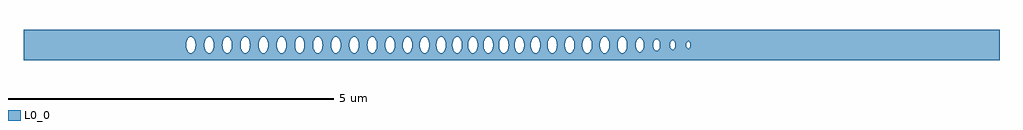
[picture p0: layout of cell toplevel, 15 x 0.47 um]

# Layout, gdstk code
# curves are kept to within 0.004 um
import gdstk
lib = gdstk.Library(unit=1e-6, precision=1e-09)
def P(c, l, *ps):  # polygons
    for p in ps: c.add(gdstk.Polygon(p, *l))
L0_0 = (0, 0)

toplevel = lib.new_cell('toplevel')
P(toplevel, L0_0, [(-4.718,0.032),(-4.707,0.075),(-4.691,0.103),(-4.691,0.234),(-7.5,0.234),(-7.5,-0.016),(-4.999,-0.016),(-4.996,0.039),(-4.985,0.075),(-4.962,0.112),(-4.927,0.128),(-4.9,0.119),(-4.877,0.093),(-4.859,0.047),(-4.854,0.008),(-4.859,-0.047),(-4.877,-0.093),(-4.9,-0.119),(-4.927,-0.128),(-4.953,-0.119),(-4.973,-0.098),(-4.988,-0.068),(-4.999,-0.016),(-7.5,-0.016),(-7.5,-0.234),(-4.691,-0.234),(-4.691,-0.103),(-4.714,-0.054),(-4.72,-0.016)],
  [(-4.683,0.112),(-4.648,0.128),(-4.621,0.119),(-4.609,0.108),(-4.592,0.081),(-4.581,0.047),(-4.576,-0.016),(-4.592,-0.081),(-4.621,-0.119),(-4.648,-0.128),(-4.662,-0.125),(-4.691,-0.103),(-4.691,-0.234),(-4.369,-0.234),(-4.369,-0.128),(-4.396,-0.119),(-4.416,-0.098),(-4.431,-0.068),(-4.442,-0.008),(-4.437,0.047),(-4.419,0.093),(-4.396,0.119),(-4.369,0.128),(-4.369,0.234),(-4.691,0.234),(-4.691,0.103)],
  [(-4.299,-0.032),(-4.323,-0.098),(-4.343,-0.119),(-4.369,-0.128),(-4.369,-0.234),(-4.048,-0.234),(-4.048,-0.103),(-4.077,-0.125),(-4.091,-0.128),(-4.118,-0.119),(-4.147,-0.081),(-4.163,-0.016),(-4.158,0.047),(-4.147,0.081),(-4.13,0.108),(-4.118,0.119),(-4.091,0.128),(-4.064,0.119),(-4.048,0.103),(-4.048,0.234),(-4.369,0.234),(-4.369,0.128),(-4.335,0.112),(-4.311,0.075),(-4.298,0.024)],
  [(-3.751,-0.068),(-3.766,-0.098),(-3.786,-0.119),(-3.812,-0.128),(-3.839,-0.119),(-3.871,-0.075),(-3.885,0),(-3.871,0.075),(-3.839,0.119),(-3.812,0.128),(-3.786,0.119),(-3.766,0.098),(-3.751,0.068),(-3.751,0.234),(-4.048,0.234),(-4.048,0.103),(-4.027,0.061),(-4.018,0),(-4.027,-0.061),(-4.048,-0.103),(-4.048,-0.234),(-3.751,-0.234)],
  [(-3.742,-0.032),(-3.751,-0.068),(-3.751,-0.234),(-3.321,-0.234),(-3.321,-0.054),(-3.327,-0.016),(-3.321,0.054),(-3.321,0.234),(-3.751,0.234),(-3.751,0.067),(-3.74,-0.008),(-3.606,-0.008),(-3.601,0.047),(-3.583,0.093),(-3.56,0.119),(-3.534,0.128),(-3.507,0.119),(-3.487,0.098),(-3.472,0.068),(-3.461,0.008),(-3.466,-0.047),(-3.484,-0.093),(-3.507,-0.119),(-3.534,-0.128),(-3.56,-0.119),(-3.58,-0.098),(-3.595,-0.068),(-3.606,-0.008),(-3.74,-0.008)],
  [(-3.314,0.075),(-3.282,0.119),(-3.255,0.128),(-3.228,0.119),(-3.196,0.075),(-3.186,0.039),(-3.183,-0.016),(-3.189,-0.054),(-3.205,-0.093),(-3.22,-0.112),(-3.241,-0.125),(-3.269,-0.125),(-3.29,-0.112),(-3.305,-0.093),(-3.321,-0.054),(-3.321,-0.234),(-2.994,-0.234),(-2.994,-0.123),(-3.015,-0.108),(-3.035,-0.075),(-3.049,-0.008),(-3.038,0.068),(-3.023,0.098),(-2.994,0.123),(-2.994,0.234),(-3.321,0.234),(-3.321,0.054)],
  [(-2.906,-0.032),(-2.915,-0.068),(-2.938,-0.108),(-2.963,-0.125),(-2.994,-0.123),(-2.994,-0.234),(-2.671,-0.234),(-2.671,-0.119),(-2.698,-0.128),(-2.737,-0.108),(-2.759,-0.068),(-2.77,-0.016),(-2.765,0.047),(-2.754,0.081),(-2.737,0.108),(-2.698,0.128),(-2.671,0.119),(-2.671,0.234),(-2.994,0.234),(-2.994,0.123),(-2.976,0.128),(-2.958,0.123),(-2.927,0.093),(-2.906,0.032)],
  [(-2.366,-0.087),(-2.38,-0.108),(-2.401,-0.123),(-2.419,-0.128),(-2.446,-0.119),(-2.478,-0.075),(-2.492,0),(-2.478,0.075),(-2.446,0.119),(-2.419,0.128),(-2.406,0.125),(-2.384,0.112),(-2.366,0.087),(-2.366,0.234),(-2.671,0.234),(-2.671,0.119),(-2.639,0.075),(-2.625,0),(-2.639,-0.075),(-2.671,-0.119),(-2.671,-0.234),(-2.366,-0.234)],
  [(-2.349,-0.032),(-2.366,-0.087),(-2.366,-0.234),(-1.936,-0.234),(-1.936,0.234),(-2.366,0.234),(-2.366,0.087),(-2.35,0.039),(-2.347,-0.008),(-2.214,-0.008),(-2.209,0.047),(-2.191,0.093),(-2.168,0.119),(-2.141,0.128),(-2.115,0.119),(-2.095,0.098),(-2.08,0.068),(-2.07,0.024),(-2.071,-0.032),(-2.083,-0.075),(-2.107,-0.112),(-2.141,-0.128),(-2.168,-0.119),(-2.188,-0.098),(-2.203,-0.068),(-2.214,-0.008),(-2.347,-0.008)],
  [(-1.926,0.075),(-1.894,0.119),(-1.867,0.128),(-1.84,0.119),(-1.808,0.075),(-1.798,0.039),(-1.795,-0.016),(-1.801,-0.054),(-1.817,-0.093),(-1.84,-0.119),(-1.867,-0.128),(-1.894,-0.119),(-1.91,-0.103),(-1.926,-0.075),(-1.936,-0.039),(-1.936,-0.234),(-1.62,-0.234),(-1.62,-0.121),(-1.637,-0.108),(-1.657,-0.075),(-1.671,0),(-1.657,0.075),(-1.637,0.108),(-1.62,0.121),(-1.62,0.234),(-1.936,0.234),(-1.936,0.039)],
  [(-1.528,-0.032),(-1.542,-0.081),(-1.563,-0.112),(-1.598,-0.128),(-1.62,-0.121),(-1.62,-0.234),(-1.318,-0.234),(-1.318,-0.123),(-1.35,-0.125),(-1.383,-0.098),(-1.398,-0.068),(-1.409,-0.008),(-1.404,0.047),(-1.383,0.098),(-1.35,0.125),(-1.318,0.123),(-1.318,0.234),(-1.62,0.234),(-1.62,0.121),(-1.598,0.128),(-1.571,0.119),(-1.545,0.087),(-1.529,0.039)],
  [(-1.021,-0.068),(-1.036,-0.098),(-1.056,-0.119),(-1.082,-0.128),(-1.105,-0.121),(-1.125,-0.103),(-1.141,-0.075),(-1.155,-0.008),(-1.15,0.047),(-1.141,0.075),(-1.109,0.119),(-1.082,0.128),(-1.056,0.119),(-1.036,0.098),(-1.021,0.068),(-1.021,0.234),(-1.318,0.234),(-1.318,0.123),(-1.298,0.108),(-1.278,0.075),(-1.264,0.008),(-1.275,-0.068),(-1.29,-0.098),(-1.318,-0.123),(-1.318,-0.234),(-1.021,-0.234)],
  [(-1.012,-0.032),(-1.021,-0.068),(-1.021,-0.234),(-0.661,-0.234),(-0.661,-0.047),(-0.666,-0.016),(-0.661,0.234),(-1.021,0.234),(-1.021,0.067),(-1.01,-0.008),(-0.908,-0.008),(-0.903,0.047),(-0.885,0.093),(-0.862,0.119),(-0.835,0.128),(-0.809,0.119),(-0.789,0.098),(-0.774,0.068),(-0.763,0.016),(-0.766,-0.039),(-0.779,-0.081),(-0.8,-0.112),(-0.835,-0.128),(-0.862,-0.119),(-0.885,-0.093),(-0.903,-0.047),(-0.908,-0.008),(-1.01,-0.008)],
  [(-0.644,0.093),(-0.629,0.112),(-0.608,0.125),(-0.58,0.125),(-0.559,0.112),(-0.53,0.061),(-0.522,-0.016),(-0.528,-0.054),(-0.544,-0.093),(-0.559,-0.112),(-0.58,-0.125),(-0.608,-0.125),(-0.629,-0.112),(-0.653,-0.075),(-0.661,-0.047),(-0.661,-0.234),(-0.36,-0.234),(-0.36,-0.127),(-0.391,-0.112),(-0.409,-0.087),(-0.428,-0.016),(-0.425,0.039),(-0.412,0.081),(-0.391,0.112),(-0.36,0.127),(-0.36,0.234),(-0.661,0.234),(-0.661,0.047)],
  [(-0.286,-0.032),(-0.297,-0.075),(-0.313,-0.103),(-0.329,-0.119),(-0.36,-0.127),(-0.36,-0.234),(-0.088,-0.234),(-0.088,-0.115),(-0.119,-0.128),(-0.145,-0.119),(-0.157,-0.108),(-0.18,-0.068),(-0.191,-0.008),(-0.18,0.068),(-0.157,0.108),(-0.145,0.119),(-0.119,0.128),(-0.088,0.115),(-0.088,0.234),(-0.36,0.234),(-0.36,0.127),(-0.329,0.119),(-0.297,0.075),(-0.284,0.016)],
  [(0.188,-0.05),(0.16,-0.108),(0.135,-0.125),(0.112,-0.126),(0.086,-0.112),(0.068,-0.087),(0.049,-0.016),(0.051,0.032),(0.06,0.068),(0.075,0.098),(0.094,0.119),(0.121,0.128),(0.148,0.119),(0.171,0.093),(0.188,0.047),(0.188,0.234),(-0.088,0.234),(-0.088,0.115),(-0.057,0.068),(-0.046,0.008),(-0.057,-0.068),(-0.088,-0.115),(-0.088,-0.234),(0.188,-0.234)],
  [(0.191,-0.032),(0.188,-0.234),(0.574,-0.234),(0.574,-0.087),(0.555,-0.016),(0.558,0.039),(0.574,0.087),(0.574,0.234),(0.188,0.234),(0.193,-0.008),(0.296,-0.008),(0.301,0.047),(0.319,0.093),(0.342,0.119),(0.369,0.128),(0.395,0.119),(0.415,0.098),(0.43,0.068),(0.441,0.016),(0.438,-0.039),(0.427,-0.075),(0.404,-0.112),(0.369,-0.128),(0.342,-0.119),(0.319,-0.093),(0.301,-0.047),(0.296,-0.008),(0.193,-0.008)],
  [(0.581,0.098),(0.614,0.125),(0.627,0.128),(0.654,0.119),(0.686,0.075),(0.7,0),(0.686,-0.075),(0.654,-0.119),(0.627,-0.128),(0.614,-0.125),(0.592,-0.112),(0.574,-0.087),(0.574,-0.234),(0.876,-0.234),(0.876,-0.123),(0.855,-0.108),(0.835,-0.075),(0.821,-0.008),(0.832,0.068),(0.847,0.098),(0.876,0.123),(0.876,0.234),(0.574,0.234),(0.574,0.087)],
  [(0.965,-0.024),(0.955,-0.068),(0.932,-0.108),(0.907,-0.125),(0.876,-0.123),(0.876,-0.234),(1.197,-0.234),(1.197,-0.112),(1.162,-0.128),(1.128,-0.112),(1.101,-0.068),(1.09,-0.008),(1.101,0.068),(1.124,0.108),(1.136,0.119),(1.162,0.128),(1.197,0.112),(1.197,0.234),(0.876,0.234),(0.876,0.123),(0.907,0.125),(0.94,0.098),(0.961,0.047)],
  [(1.501,-0.035),(1.49,-0.075),(1.474,-0.103),(1.458,-0.119),(1.431,-0.128),(1.405,-0.119),(1.385,-0.098),(1.37,-0.068),(1.359,-0.016),(1.362,0.039),(1.375,0.081),(1.392,0.108),(1.418,0.125),(1.445,0.125),(1.47,0.108),(1.49,0.075),(1.501,0.032),(1.501,0.234),(1.197,0.234),(1.197,0.112),(1.224,0.068),(1.235,0.008),(1.224,-0.068),(1.197,-0.112),(1.197,-0.234),(1.501,-0.234)],
  [(1.501,-0.032),(1.501,-0.234),(1.912,-0.234),(1.912,0.234),(1.501,0.234),(1.504,0),(1.63,0),(1.637,0.054),(1.653,0.093),(1.676,0.119),(1.703,0.128),(1.73,0.119),(1.749,0.098),(1.764,0.068),(1.775,0.016),(1.772,-0.039),(1.759,-0.081),(1.73,-0.119),(1.703,-0.128),(1.676,-0.119),(1.653,-0.093),(1.637,-0.054),(1.63,0),(1.504,0)],
  [(1.914,0.04),(1.924,0.07),(1.942,0.096),(1.96,0.108),(1.984,0.108),(2.009,0.089),(2.025,0.059),(2.034,-0.014),(2.027,-0.053),(2.015,-0.08),(1.995,-0.102),(1.972,-0.11),(1.949,-0.102),(1.932,-0.084),(1.912,-0.028),(1.912,-0.234),(2.192,-0.234),(2.192,-0.063),(2.178,-0.011),(2.182,0.034),(2.192,0.062),(2.192,0.234),(1.912,0.234)],
  [(2.28,-0.023),(2.266,-0.067),(2.243,-0.089),(2.217,-0.089),(2.192,-0.063),(2.192,-0.234),(2.495,-0.234),(2.495,-0.067),(2.479,-0.074),(2.459,-0.067),(2.443,-0.043),(2.435,-0.009),(2.437,0.023),(2.452,0.06),(2.474,0.074),(2.495,0.067),(2.495,0.234),(2.192,0.234),(2.192,0.063),(2.217,0.089),(2.237,0.091),(2.252,0.083),(2.276,0.044),(2.282,0.011)],
  [(2.517,-0.018),(2.511,-0.043),(2.495,-0.067),(2.495,-0.234),(7.5,-0.234),(7.5,0.234),(2.495,0.234),(2.495,0.067),(2.514,0.035),(2.518,-0.01),(2.685,-0.01),(2.692,0.036),(2.714,0.056),(2.737,0.043),(2.748,0.007),(2.741,-0.036),(2.718,-0.056),(2.696,-0.043),(2.685,-0.01),(2.518,-0.01)])

lib.write_gds('toplevel.gds')
